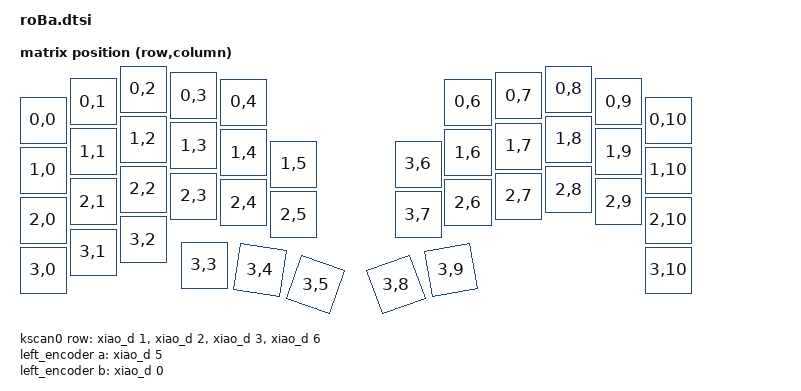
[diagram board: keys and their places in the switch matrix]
#include <dt-bindings/zmk/matrix_transform.h>
#include <physical_layouts.dtsi>

// NFC ピン（P0.09 / P0.10）を GPIO として使う（右: トラックボール CS と列、左: 列）。
// Zephyr 4.1 では CONFIG_NFCT_PINS_AS_GPIOS ではなく devicetree で指定する。
&uicr {
    nfct-pins-as-gpios;
};

// xiao_ble ボード（Zephyr 4.1）は xiao_i2c（P0.04/P0.05）と xiao_spi（P1.13〜P1.15）を
// 既定で有効にしている。roBa ではこれらのピンをトラックボール SPI・エンコーダ・キーの列に
// 使うので無効にする（旧 seeeduino_xiao_ble ボードでは既定で無効だった）。
&xiao_i2c {
    status = "disabled";
};

&xiao_spi {
    status = "disabled";
};

// ボード既定のコンソール用 USB CDC ACM を無効にする（Studio 用の CDC は snippet が別に追加する）。
// roBa_L.conf / roBa_R.conf の CONFIG_CONSOLE=n と CONFIG_BOARD_SERIAL_BACKEND_CDC_ACM=n と必ず対で使う。
&board_cdc_acm_uart {
    status = "disabled";
};

/ {
    chosen {
        zmk,physical-layout = &roba_physical_layout;
    };

    roba_physical_layout: roba_physical_layout {
        compatible = "zmk,physical-layout";
        display-name = "Default";
        transform = <&default_transform>;
        kscan = <&kscan0>;

        // config/roBa.json（KiCad から keymap-layout-tools で取り込んだとみられる座標。同ツールの既定では
        // 1 単位 = 19 mm、列ピッチ 1.003 ≒ 19.05 mm）の各値を 100 倍して整数に丸めた値
        // （zmk-physical-layout-converter と同じ round(100 * 値)）。回転の中心 rx / ry はキーの中心。
        // roBa.json を変えたらここも作り直す
        keys  //                     w   h    x    y     rot    rx    ry
            = <&key_physical_attrs 100 100    0   62       0     0     0>
            , <&key_physical_attrs 100 100  100   25       0     0     0>
            , <&key_physical_attrs 100 100  200    0       0     0     0>
            , <&key_physical_attrs 100 100  301   13       0     0     0>
            , <&key_physical_attrs 100 100  401   26       0     0     0>

            , <&key_physical_attrs 100 100  850   26       0     0     0>
            , <&key_physical_attrs 100 100  951   13       0     0     0>
            , <&key_physical_attrs 100 100 1051    0       0     0     0>
            , <&key_physical_attrs 100 100 1151   25       0     0     0>
            , <&key_physical_attrs 100 100 1251   62       0     0     0>

            , <&key_physical_attrs 100 100    0  162       0     0     0>
            , <&key_physical_attrs 100 100  100  125       0     0     0>
            , <&key_physical_attrs 100 100  200  100       0     0     0>
            , <&key_physical_attrs 100 100  301  113       0     0     0>
            , <&key_physical_attrs 100 100  401  127       0     0     0>
            , <&key_physical_attrs 100 100  501  150       0     0     0>

            , <&key_physical_attrs 100 100  750  150       0     0     0>
            , <&key_physical_attrs 100 100  850  127       0     0     0>
            , <&key_physical_attrs 100 100  951  114       0     0     0>
            , <&key_physical_attrs 100 100 1051  100       0     0     0>
            , <&key_physical_attrs 100 100 1151  125       0     0     0>
            , <&key_physical_attrs 100 100 1251  162       0     0     0>

            , <&key_physical_attrs 100 100    0  262       0     0     0>
            , <&key_physical_attrs 100 100  100  225       0     0     0>
            , <&key_physical_attrs 100 100  200  200       0     0     0>
            , <&key_physical_attrs 100 100  301  214       0     0     0>
            , <&key_physical_attrs 100 100  401  227       0     0     0>
            , <&key_physical_attrs 100 100  501  251       0     0     0>

            , <&key_physical_attrs 100 100  750  251       0     0     0>
            , <&key_physical_attrs 100 100  850  227       0     0     0>
            , <&key_physical_attrs 100 100  951  214       0     0     0>
            , <&key_physical_attrs 100 100 1051  201       0     0     0>
            , <&key_physical_attrs 100 100 1151  225       0     0     0>
            , <&key_physical_attrs 100 100 1251  262       0     0     0>

            , <&key_physical_attrs 100 100    0  362       0     0     0>
            , <&key_physical_attrs 100 100  100  326       0     0     0>
            , <&key_physical_attrs 100 100  200  301       0     0     0>
            , <&key_physical_attrs 100 100  322  352       0     0     0>
            , <&key_physical_attrs 100 100  434  362     900   484   412>
            , <&key_physical_attrs 100 100  545  391    2000   595   441>

            , <&key_physical_attrs 100 100  706  391 (-2000)   756   441>
            , <&key_physical_attrs 100 100  816  362 (-1000)   866   412>

            , <&key_physical_attrs 100 100 1251  362       0     0     0>
            ;
    };

    default_transform: keymap_transform_0 {
        compatible = "zmk,matrix-transform";
        columns = <11>;
        rows = <4>;
        map = <
            RC(0,0) RC(0,1) RC(0,2) RC(0,3) RC(0,4)                     RC(0,6) RC(0,7) RC(0,8) RC(0,9) RC(0,10)
            RC(1,0) RC(1,1) RC(1,2) RC(1,3) RC(1,4) RC(1,5)     RC(3,6) RC(1,6) RC(1,7) RC(1,8) RC(1,9) RC(1,10)
            RC(2,0) RC(2,1) RC(2,2) RC(2,3) RC(2,4) RC(2,5)     RC(3,7) RC(2,6) RC(2,7) RC(2,8) RC(2,9) RC(2,10)
            RC(3,0) RC(3,1) RC(3,2) RC(3,3) RC(3,4) RC(3,5)     RC(3,8) RC(3,9)                         RC(3,10)
        >;
    };

    kscan0: kscan {
        compatible = "zmk,kscan-gpio-matrix";
        // ディープスリープ（config/roBa_R.conf・roBa_L.conf の CONFIG_ZMK_SLEEP）からキーで起きるために必要。
        // 無いと ZMK は電源を切る前にキースキャンも止めてピンを切り離すので、リセットボタンを押すまで起きない。
        // これが付いた kscan は止めずに残され、列（col-gpios）を High にしたまま行（row-gpios）が High になるのを
        // nRF52840 の SENSE で待つ。どのキーを押しても行が High になって起きる。
        // 起こせるのはキーだけ。トラックボール（PMW3610 のドライバが眠る前に割り込みを切る）と
        // エンコーダ（EC11 は SENSE を使わないエッジ割り込みで、眠る前の処理も無い）では起きない。
        // physical_layout の kscan がこのノードなので、ここ（左右共通）に置く。スリープを使わなくても害は無い
        wakeup-source;
        diode-direction = "col2row";
            row-gpios
                = <&xiao_d 1 (GPIO_ACTIVE_HIGH | GPIO_PULL_DOWN)>
                , <&xiao_d 2 (GPIO_ACTIVE_HIGH | GPIO_PULL_DOWN)>
                , <&xiao_d 3 (GPIO_ACTIVE_HIGH | GPIO_PULL_DOWN)>
                , <&xiao_d 6 (GPIO_ACTIVE_HIGH | GPIO_PULL_DOWN)>
                ;
    };

    left_encoder: encoder_left {
        compatible = "alps,ec11";
        a-gpios = <&xiao_d 5 (GPIO_ACTIVE_HIGH | GPIO_PULL_UP)>;
        b-gpios = <&xiao_d 0 (GPIO_ACTIVE_HIGH | GPIO_PULL_UP)>;
        // EC05E1220202 は 12 クリック / 12 パルス。EC11 ドライバは A/B の各エッジを数えるので
        // 1 回転 = 12 x 4 = 48
        steps = <48>;
        status = "disabled";
    };

    sensors: sensors {
        compatible = "zmk,keymap-sensors";
        // 左手のエンコーダだけを並べる。並び順がセンサー番号になる（左 = 0。エンコーダの実行時割り当てもこの番号で引く）
        sensors = <&left_encoder>;
        // 360 / 12 = 30 度ごとに発火する。1 クリックでちょうど 1 回
        triggers-per-rotation = <12>;
    };
};

// トラックボール（spi0 と trackball_listener）は右手にしかないので roBa_R.overlay だけで定義する。
// 左手の spi0 は SoC の既定（disabled）のまま
